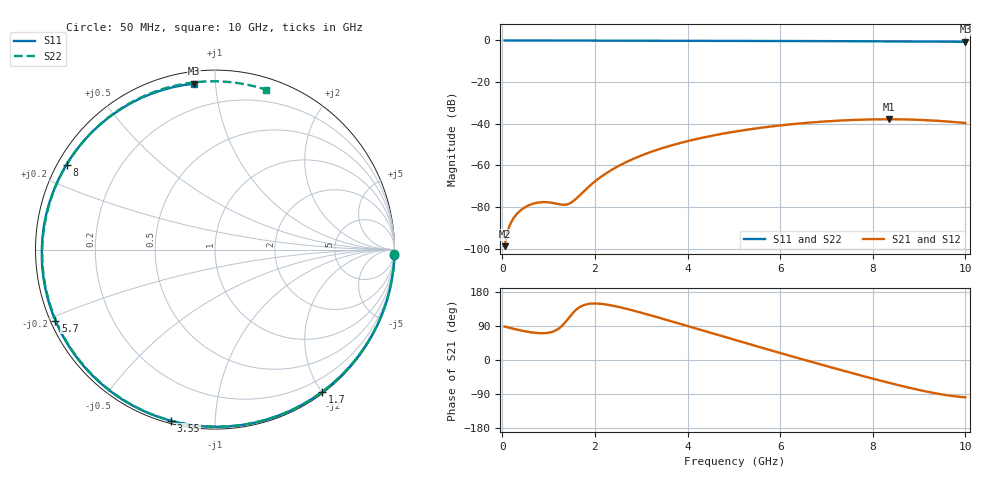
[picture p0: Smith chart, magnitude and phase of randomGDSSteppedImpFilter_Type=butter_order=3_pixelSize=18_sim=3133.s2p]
! freq	dB(S11)	phase(S11)	dB(S12)	phase(S12)
!  dB(S21)	phase(S21)	dB(S22)	phase(S22)
!S-par simulation data
#  GHz  S  DB  R 50
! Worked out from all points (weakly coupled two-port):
!   200 points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, 50 MHz to 10 GHz, reference 50 ohm
!   highest |S21| = -37.84 dB at 8.35 GHz (marker M1); lowest = -98.8 dB at 50 MHz (marker M2)
!   lowest |S11| = -0.6 dB at 10 GHz (marker M3), VSWR 28.24, Z = 3.14 + j43.9 ohm
!   |S11| at or under -10 dB: nowhere
!   |S22| runs from -0.6 to 0.0 dB; largest |S21 - S12| = 0
!   S11 on the Smith chart (normalised r, x): 50 MHz: 0, -71; 1.7 GHz: 0.02, -2.00; 3.55 GHz: 0.01, -0.78; 5.7 GHz: 0.01, -0.21; 8 GHz: 0.03, +0.27; 10 GHz: 0.06, +0.88
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0.05  -0.00 -1.6  -98.77 88.3  -98.77 88.3  -0.00 -1.5
0.5  -0.01 -16.1  -79.97 75.6  -79.97 75.6  -0.01 -14.6
0.85  -0.03 -27.1  -77.66 70.7  -77.66 70.7  -0.03 -24.8
1.4  -0.05 -44.1  -78.72 105.6  -78.72 105.6  -0.05 -40.5
1.5  -0.06 -47.1  -77.68 120.8  -77.68 120.8  -0.05 -43.3
1.7  -0.07 -53.1  -73.75 141.7  -73.75 141.7  -0.06 -48.9
1.75  -0.07 -54.6  -72.66 144.4  -72.66 144.4  -0.06 -50.3
2.1  -0.08 -64.9  -65.99 148.6  -65.99 148.6  -0.08 -60.0
2.45  -0.09 -74.8  -61.01 141.7  -61.01 141.7  -0.09 -69.5
2.9  -0.11 -87.2  -56.18 128.2  -56.18 128.2  -0.11 -81.6
3.4  -0.12 -100.5  -52.10 111.1  -52.10 111.1  -0.12 -94.8
3.55  -0.13 -104.3  -51.06 105.8  -51.06 105.8  -0.13 -98.8
4.3  -0.16 -123.0  -46.80 78.9  -46.80 78.9  -0.17 -118.1
5.05  -0.20 -140.9  -43.66 52.0  -43.66 52.0  -0.21 -137.4
5.7  -0.24 -156.0  -41.59 29.0  -41.59 29.0  -0.25 -154.2
6.7  -0.31 -179.0  -39.33 -5.8  -39.33 -5.8  -0.33 178.9
7.35  -0.36 165.8  -38.40 -27.8  -38.40 -27.8  -0.39 160.4
8  -0.42 150.2  -37.91 -49.2  -37.91 -49.2  -0.45 140.7
8.35  -0.45 141.5  -37.84 -60.2  -37.84 -60.2  -0.48 129.5
9.2  -0.53 119.5  -38.32 -84.2  -38.32 -84.2  -0.54 100.9
9.6  -0.57 108.6  -38.89 -93.0  -38.89 -93.0  -0.56 86.8
10  -0.62 97.3  -39.62 -98.5  -39.62 -98.5  -0.58 72.4
